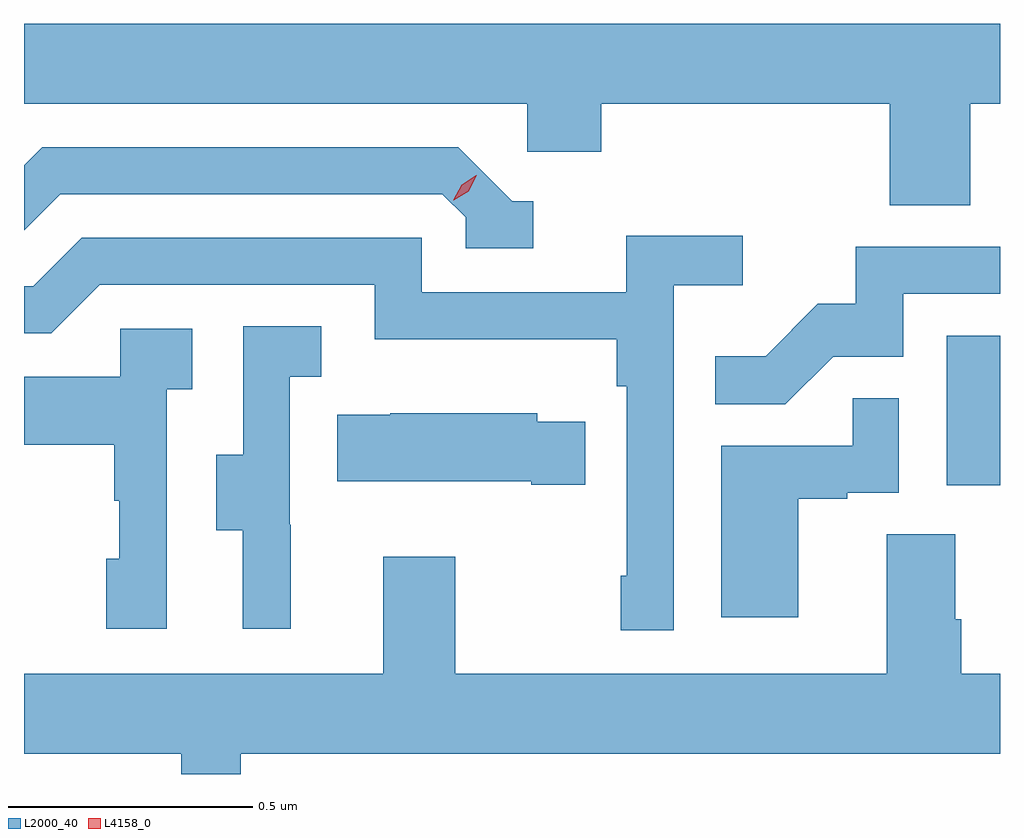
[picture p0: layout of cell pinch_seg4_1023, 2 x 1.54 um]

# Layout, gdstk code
import gdstk
lib = gdstk.Library(unit=1e-6, precision=1e-09)
def R(c, l, rs):  # rectangles x0, y0, x1, y1
    for r in rs: c.add(gdstk.rectangle(r[:2], r[2:], *l))
def P(c, l, *ps):  # polygons
    for p in ps: c.add(gdstk.Polygon(p, *l))
L2000_40 = (2000, 40)
L4158_0 = (4158, 0)

pinch_seg4_1023 = lib.new_cell('pinch_seg4_1023')
R(pinch_seg4_1023, L2000_40, [(793.844,777.39,793.953,777.697)])
P(pinch_seg4_1023, L2000_40, [(793.892,778.172),(793.953,778.172),(793.953,778.336),(791.953,778.336),(791.953,778.172),(792.984,778.172),(792.984,778.074),(793.136,778.074),(793.136,778.172),(793.727,778.172),(793.727,777.964),(793.892,777.964)],
  [(792.997,777.972),(792.954,777.972),(792.843,778.083),(791.99,778.083),(791.953,778.046),(791.953,777.913),(792.027,777.987),(792.81,777.987),(792.858,777.939),(792.858,777.876),(792.997,777.876)],
  [(793.284,777.8),(793.426,777.8),(793.426,777.902),(793.187,777.902),(793.187,777.786),(792.768,777.786),(792.768,777.897),(792.071,777.897),(791.972,777.798),(791.953,777.798),(791.953,777.702),(792.009,777.702),(792.108,777.801),(792.672,777.801),(792.672,777.689),(793.168,777.689),(793.168,777.593),(793.188,777.593),(793.188,777.205),(793.176,777.205),(793.176,777.093),(793.284,777.093)],
  [(793.611,777.654),(793.755,777.654),(793.755,777.783),(793.953,777.783),(793.953,777.879),(793.657,777.879),(793.657,777.762),(793.58,777.762),(793.473,777.655),(793.369,777.655),(793.369,777.556),(793.513,777.556)],
  [(792.5,777.309),(792.498,777.309),(792.498,777.613),(792.562,777.613),(792.562,777.716),(792.402,777.716),(792.402,777.453),(792.347,777.453),(792.347,777.298),(792.401,777.298),(792.401,777.096),(792.5,777.096)],
  [(792.246,777.587),(792.298,777.587),(792.298,777.711),(792.15,777.711),(792.15,777.613),(791.953,777.613),(791.953,777.473),(792.138,777.473),(792.138,777.359),(792.148,777.359),(792.148,777.24),(792.122,777.24),(792.122,777.096),(792.246,777.096)],
  [(793.54,777.363),(793.64,777.363),(793.64,777.375),(793.746,777.375),(793.746,777.569),(793.651,777.569),(793.651,777.471),(793.382,777.471),(793.382,777.12),(793.54,777.12)],
  [(793.103,777.52),(793.005,777.52),(793.005,777.538),(792.703,777.538),(792.703,777.535),(792.595,777.535),(792.595,777.398),(792.992,777.398),(792.992,777.391),(793.103,777.391)],
  [(792.397,776.84),(793.953,776.84),(793.953,777.004),(793.874,777.004),(793.874,777.116),(793.861,777.116),(793.861,777.29),(793.721,777.29),(793.721,777.004),(792.837,777.004),(792.837,777.244),(792.689,777.244),(792.689,777.004),(791.953,777.004),(791.953,776.84),(792.275,776.84),(792.275,776.798),(792.397,776.798)])
P(pinch_seg4_1023, L4158_0, [(792.833,777.974),(792.833,777.974),(792.85,778.006),(792.88,778.026),(792.881,778.026),(792.881,778.025),(792.864,777.993),(792.834,777.974)])

lib.write_gds('pinch_seg4_1023.gds')
